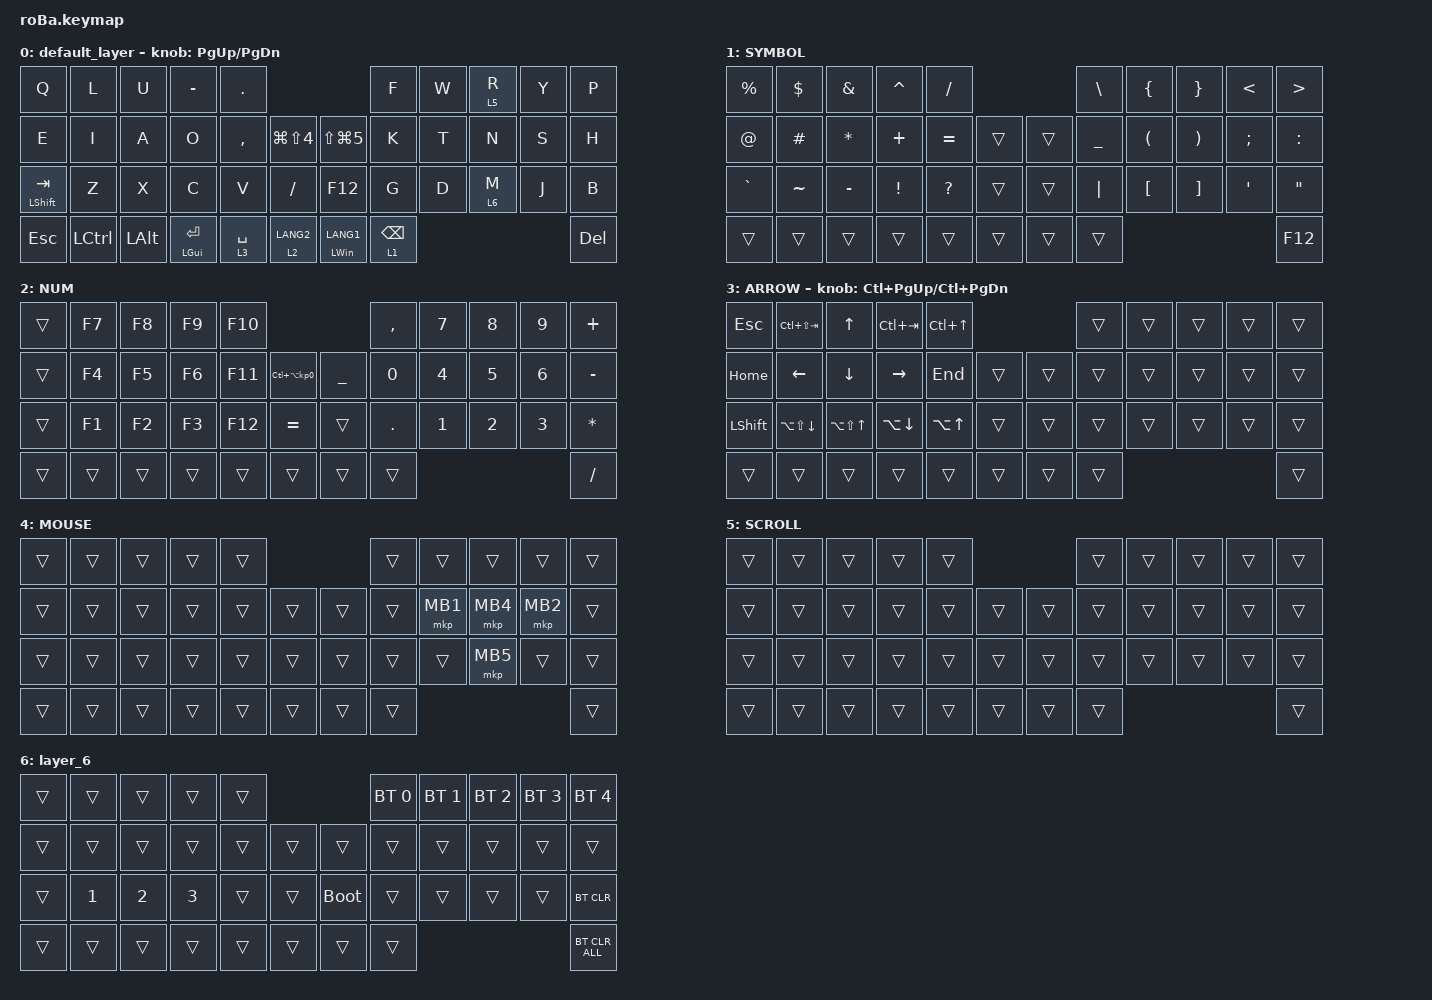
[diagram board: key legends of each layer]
#include <behaviors.dtsi>
#include <dt-bindings/zmk/bt.h>
#include <dt-bindings/zmk/keys.h>
#include <dt-bindings/zmk/pointing.h>

#define MOUSE 4
#define SCROLL 5
#define NUM 6

&mt {
    flavor = "balanced";
    quick-tap-ms = <0>;
};

/ {
    combos {
        compatible = "zmk,combos";

        tab {
            bindings = <&kp TAB>;
            key-positions = <11 12>;
        };

        shift_tab {
            bindings = <&kp LS(TAB)>;
            key-positions = <12 13>;
        };

        muhennkann {
            bindings = <&to_layer_0 INT_MUHENKAN>;
            key-positions = <11 10>;
        };

        double_quotation {
            bindings = <&kp DOUBLE_QUOTES>;
            key-positions = <20 21>;
        };

        eq {
            bindings = <&kp EQUAL>;
            key-positions = <24 25>;
        };
    };

    macros {
        to_layer_0: to_layer_0 {
            compatible = "zmk,behavior-macro-one-param";
            #binding-cells = <1>;
            bindings = <&to 0 &macro_param_1to1 &kp MACRO_PLACEHOLDER>;
            label = "TO_LAYER_0";
        };
    };

    behaviors {
        lt_to_layer_0: lt_to_layer_0 {
            compatible = "zmk,behavior-hold-tap";
            label = "LAYER_TAP_TO_0";
            bindings = <&mo>, <&to_layer_0>;

            #binding-cells = <2>;
            tapping-term-ms = <200>;
        };
    };

    keymap {
        compatible = "zmk,keymap";

        default_layer {
            bindings = <
&kp Q               &kp L      &kp U         &kp MINUS           &kp PERIOD                                                   &kp F            &kp W  &lt 5 R  &kp Y  &kp P
&kp E               &kp I      &kp A         &kp O               &kp COMMA    &kp LG(LS(NUMBER_4))      &kp LS(LG(NUMBER_5))  &kp K            &kp T  &kp N    &kp S  &kp H
&mt LEFT_SHIFT TAB  &kp Z      &kp X         &kp C               &kp V        &kp SLASH                 &kp F12               &kp G            &kp D  &lt 6 M  &kp J  &kp B
&kp ESCAPE          &kp LCTRL  &kp LEFT_ALT  &mt LEFT_GUI ENTER  &lt 3 SPACE  &lt 2 LANG2               &mt LEFT_WIN LANG1    &lt 1 BACKSPACE                         &kp DEL
            >;

            sensor-bindings = <&inc_dec_kp PG_UP PAGE_DOWN>;
        };

        SYMBOL {
            bindings = <
&kp PERCENT  &kp DOLLAR  &kp AMPERSAND  &kp CARET  &kp FSLH                          &kp BSLH        &kp LEFT_BRACE        &kp RIGHT_BRACE        &kp LESS_THAN  &kp GREATER_THAN
&kp AT       &kp HASH    &kp ASTERISK   &kp PLUS   &kp EQUAL     &trans      &trans  &kp UNDERSCORE  &kp LEFT_PARENTHESIS  &kp RIGHT_PARENTHESIS  &kp SEMI       &kp COLON
&kp GRAVE    &kp TILDE   &kp MINUS      &kp EXCL   &kp QUESTION  &trans      &trans  &kp PIPE        &kp LBKT              &kp RBKT               &kp SQT        &kp DOUBLE_QUOTES
&trans       &trans      &trans         &trans     &trans        &trans      &trans  &trans                                                                      &kp F12
            >;
        };

        NUM {
            bindings = <
&trans  &kp F7  &kp F8  &kp F9  &kp F10                                               &kp COMMA   &kp NUMBER_7  &kp NUMBER_8  &kp NUMBER_9  &kp PLUS
&trans  &kp F4  &kp F5  &kp F6  &kp F11  &kp LC(LA(KP_NUMBER_0))      &kp UNDERSCORE  &kp N0      &kp NUMBER_4  &kp NUMBER_5  &kp NUMBER_6  &kp MINUS
&trans  &kp F1  &kp F2  &kp F3  &kp F12  &kp EQUAL                    &trans          &kp PERIOD  &kp NUMBER_1  &kp NUMBER_2  &kp NUMBER_3  &kp ASTERISK
&trans  &trans  &trans  &trans  &trans   &trans                       &trans          &trans                                                &kp SLASH
            >;
        };

        ARROW {
            bindings = <
&kp ESCAPE      &kp LC(LS(TAB))   &kp UP_ARROW          &kp LC(TAB)      &kp LC(UP_ARROW)                      &trans  &trans  &trans  &trans  &trans
&kp HOME        &kp LEFT_ARROW    &kp DOWN_ARROW        &kp RIGHT_ARROW  &kp END           &trans      &trans  &trans  &trans  &trans  &trans  &trans
&kp LEFT_SHIFT  &kp LA(LS(DOWN))  &kp LA(LS(UP_ARROW))  &kp LA(DOWN)     &kp LA(UP_ARROW)  &trans      &trans  &trans  &trans  &trans  &trans  &trans
&trans          &trans            &trans                &trans           &trans            &trans      &trans  &trans                          &trans
            >;

            sensor-bindings = <&inc_dec_kp LC(PAGE_UP) LC(PAGE_DOWN)>;
        };

        MOUSE {
            bindings = <
&trans  &trans  &trans  &trans  &trans                      &trans  &trans    &trans    &trans    &trans
&trans  &trans  &trans  &trans  &trans  &trans      &trans  &trans  &mkp MB1  &mkp MB4  &mkp MB2  &trans
&trans  &trans  &trans  &trans  &trans  &trans      &trans  &trans  &trans    &mkp MB5  &trans    &trans
&trans  &trans  &trans  &trans  &trans  &trans      &trans  &trans                                &trans
            >;
        };

        SCROLL {
            bindings = <
&trans  &trans  &trans  &trans  &trans                      &trans  &trans  &trans  &trans  &trans
&trans  &trans  &trans  &trans  &trans  &trans      &trans  &trans  &trans  &trans  &trans  &trans
&trans  &trans  &trans  &trans  &trans  &trans      &trans  &trans  &trans  &trans  &trans  &trans
&trans  &trans  &trans  &trans  &trans  &trans      &trans  &trans                          &trans
            >;
        };

        layer_6 {
            bindings = <
&trans  &trans        &trans        &trans        &trans                           &bt BT_SEL 0  &bt BT_SEL 1  &bt BT_SEL 2  &bt BT_SEL 3  &bt BT_SEL 4
&trans  &trans        &trans        &trans        &trans  &trans      &trans       &trans        &trans        &trans        &trans        &trans
&trans  &kp NUMBER_1  &kp NUMBER_2  &kp NUMBER_3  &trans  &trans      &bootloader  &trans        &trans        &trans        &trans        &bt BT_CLR
&trans  &trans        &trans        &trans        &trans  &trans      &trans       &trans                                                  &bt BT_CLR_ALL
            >;
        };
    };
};
